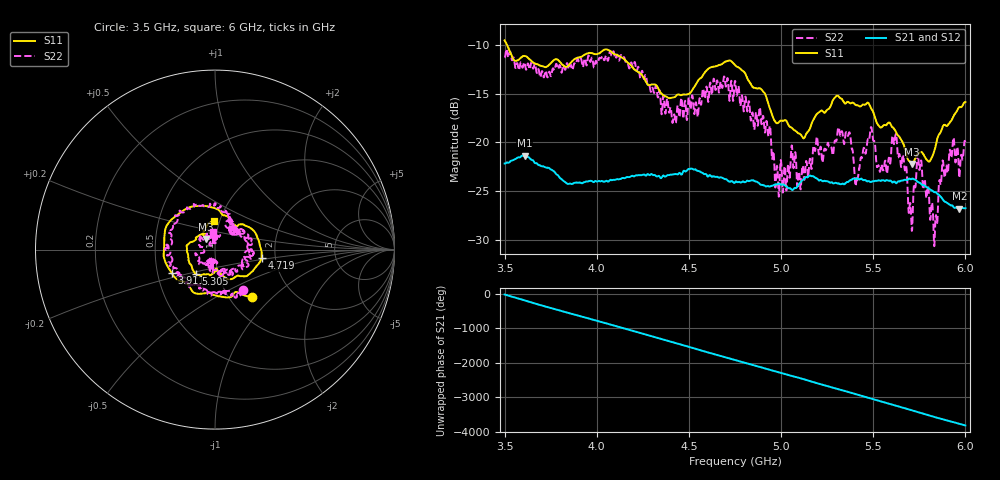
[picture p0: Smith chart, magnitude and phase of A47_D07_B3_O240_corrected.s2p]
! Created with skrf 1.9.0 (http://scikit-rf.org).
# Hz S RI R 50.0
!freq ReS11 ImS11 ReS21 ImS21 ReS12 ImS12 ReS22 ImS22
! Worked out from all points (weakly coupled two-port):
!   1601 points, 3.5 GHz to 6 GHz, reference 50 ohm
!   highest |S21| = -21.36 dB at 3.609 GHz (marker M1); lowest = -26.8 dB at 5.967 GHz (marker M2)
!   lowest |S11| = -22.2 dB at 5.711 GHz (marker M3), VSWR 1.17, Z = 45 + j5.43 ohm
!   |S11| at or under -10 dB: 3.513 GHz to end of sweep
!   |S22| runs from -30.7 to -10.4 dB; largest |S21 - S12| = 0.00095
!   S11 on the Smith chart (normalised r, x): 3.5 GHz: 1.27, -0.75; 3.911 GHz: 0.59, -0.17; 4.719 GHz: 1.69, -0.17; 5.305 GHz: 0.78, -0.22; 6 GHz: 0.93, +0.31
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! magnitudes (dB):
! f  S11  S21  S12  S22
! 3.5 GHz  -9.5  -22.2  -22.1  -11.3
! 3.609 GHz  -11.1  -21.4  -21.4  -11.9
! 3.911 GHz  -11.2  -24.1  -24.1  -11.5
! 3.917 GHz  -11.2  -24.2  -24.2  -11.6
! 4.334 GHz  -14.5  -23.4  -23.4  -15.3
! 4.42 GHz  -15.4  -23.3  -23.3  -17.1
! 4.719 GHz  -11.6  -24.0  -24.1  -15.6
! 4.75 GHz  -12.1  -24.1  -24.0  -13.7
! 4.931 GHz  -16.1  -24.5  -24.5  -19.4
! 4.98 GHz  -18.0  -24.3  -24.3  -22.6
! 5.167 GHz  -18.0  -23.5  -23.4  -22.6
! 5.305 GHz  -15.2  -24.2  -24.2  -19.2
! 5.409 GHz  -16.2  -23.7  -23.6  -23.8
! 5.484 GHz  -16.3  -24.1  -24.0  -18.7
! 5.584 GHz  -18.0  -23.9  -23.9  -21.6
! 5.617 GHz  -18.7  -24.1  -24.0  -19.7
! 5.711 GHz  -22.2  -23.7  -23.7  -29.0
! 5.75 GHz  -21.1  -24.1  -24.1  -22.8
! 5.838 GHz  -20.5  -25.1  -25.1  -27.8
! 5.87 GHz  -18.8  -25.7  -25.6  -23.6
! 5.967 GHz  -16.4  -26.8  -26.8  -23.6
! 6 GHz  -15.9  -26.8  -26.7  -20.0
